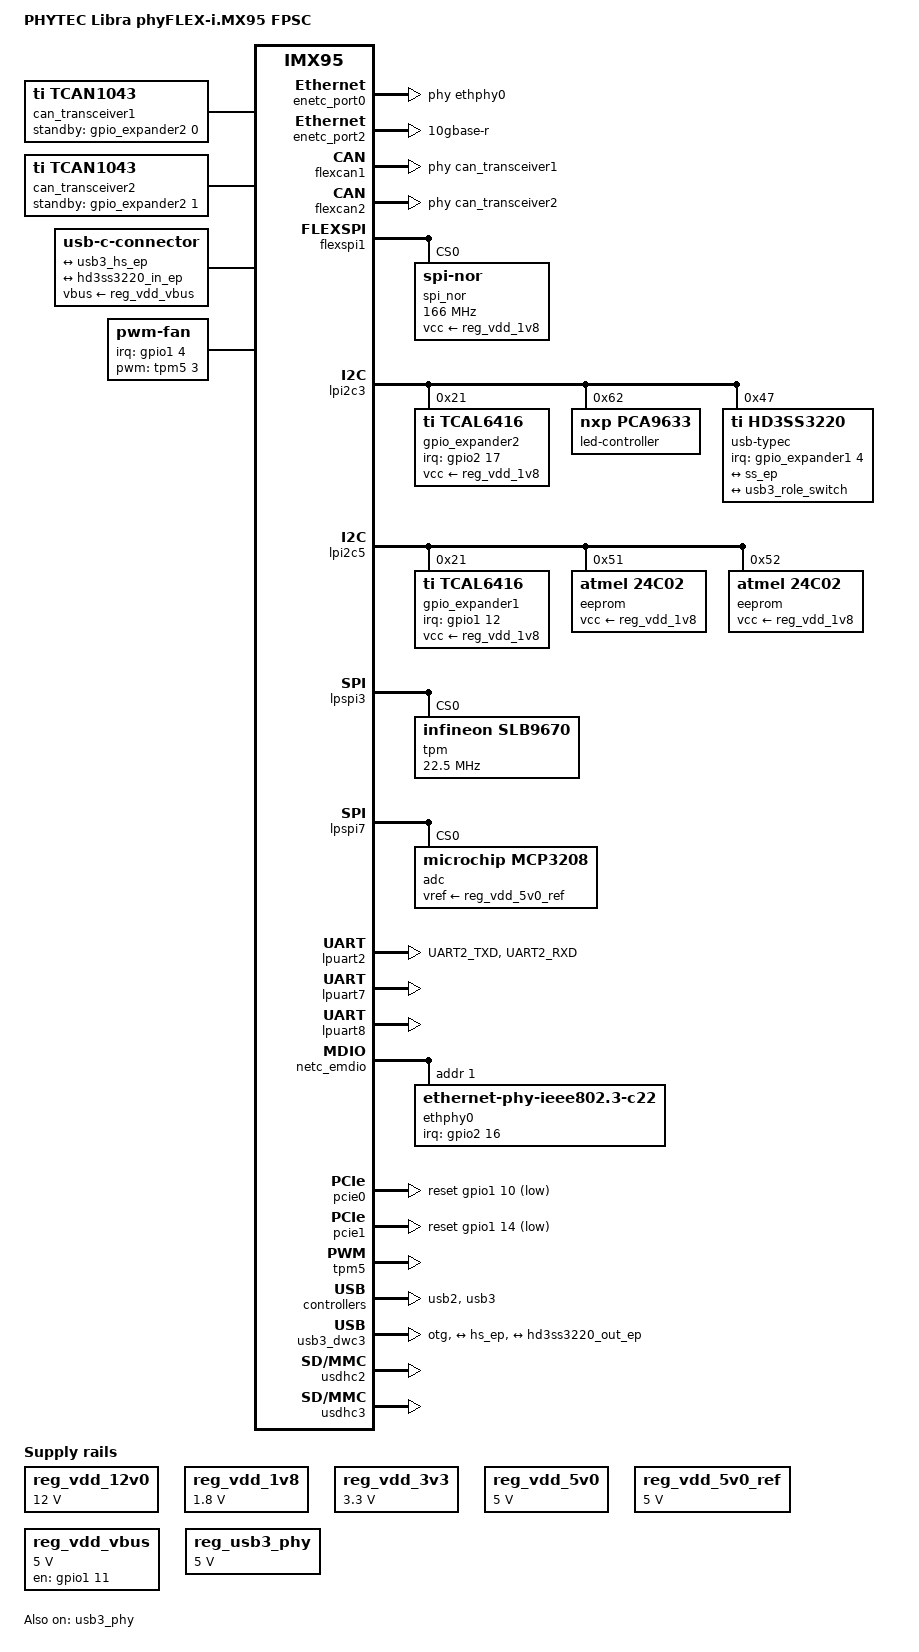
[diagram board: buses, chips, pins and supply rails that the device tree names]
// SPDX-License-Identifier: (GPL-2.0+ OR MIT)
/*
 * Copyright 2025 PHYTEC Messtechnik GmbH
 */

/dts-v1/;

#include <dt-bindings/interrupt-controller/irq.h>
#include <dt-bindings/leds/common.h>
#include <dt-bindings/pwm/pwm.h>

#include "imx95-phyflex-fpsc-g-som.dtsi"

/ {
	compatible = "phytec,imx95-phyflex-libra-rdk",
		     "phytec,imx95-phyflex-fpsc-g", "fsl,imx95";
	model = "PHYTEC Libra phyFLEX-i.MX95 FPSC";

	aliases {
		ethernet3 = &enetc_port2;
		mmc0 = &usdhc1;
		mmc1 = &usdhc2;
		mmc2 = &usdhc3;
		rtc0 = &rv3028;
		rtc1 = &scmi_bbm;
	};

	chosen {
		stdout-path = &lpuart7;
	};

	backlight: backlight {
		compatible = "pwm-backlight";
		power-supply = <&reg_vdd_12v0>;
		brightness-levels = <0 8 16 32 64 128 255>;
		default-brightness-level = <8>;
		num-interpolated-steps = <2>;
		pwms = <&tpm3 3 66667 0>;
		status = "disabled";
	};

	can_transceiver1: can-phy1 {
		compatible = "ti,tcan1043";
		#phy-cells = <0>;
		max-bitrate = <8000000>;
		standby-gpios = <&gpio_expander2 0 GPIO_ACTIVE_HIGH>;
	};

	can_transceiver2: can-phy2 {
		compatible = "ti,tcan1043";
		#phy-cells = <0>;
		max-bitrate = <8000000>;
		standby-gpios = <&gpio_expander2 1 GPIO_ACTIVE_HIGH>;
	};

	connector {
		compatible = "usb-c-connector";
		label = "USB-C";
		data-role = "dual";
		pd-disable;
		self-powered;
		vbus-supply = <&reg_vdd_vbus>;

		ports {
			#address-cells = <1>;
			#size-cells = <0>;

			port@0 {
				reg = <0>;

				hs_ep: endpoint {
					remote-endpoint = <&usb3_hs_ep>;
				};
			};
			port@1 {
				reg = <1>;

				ss_ep: endpoint {
					remote-endpoint = <&hd3ss3220_in_ep>;
				};
			};
		};
	};

	osc_mclk: oscillator-mclk {
		compatible = "fixed-clock";
		#clock-cells = <0>;
		clock-frequency = <19200000>;
		status = "disabled";
	};

	osc_mclk_gated: oscillator-mclk-gated {
		compatible = "gpio-gate-clock";
		#clock-cells = <0>;
		clocks = <&osc_mclk>;
		enable-gpios = <&gpio_expander1 8 GPIO_ACTIVE_HIGH>;
		status = "disabled";
	};

	panel_lvds1: panel-lvds0 {
		backlight = <&backlight>;
		enable-gpios = <&gpio_expander2 9 GPIO_ACTIVE_HIGH>;
		power-supply = <&reg_vdd_3v3>;
		status = "disabled";
	};

	fan: pwm-fan {
		compatible = "pwm-fan";
		interrupt-parent = <&gpio1>;
		interrupts = <4 IRQ_TYPE_EDGE_RISING>;
		#cooling-cells = <2>;
		/* startup 35%, duty cycle 30%-100%;
		 * polarity inversion does not appear to work
		 */
		cooling-levels = <255 166 96 0>;
		/* fan-supply = <&reg_vdd_5v0>;  probe fails with this set */
		pwms = <&tpm5 3 86958 0>;
		pulses-per-revolution = <2>;
	};

	reg_vdd_12v0: regulator-vdd-12v0 {
		compatible = "regulator-fixed";
		regulator-always-on;
		regulator-boot-on;
		regulator-max-microvolt = <12000000>;
		regulator-min-microvolt = <12000000>;
		regulator-name = "VDD_12V0";
	};

	reg_vdd_1v8: regulator-vdd-1v8 {
		compatible = "regulator-fixed";
		regulator-always-on;
		regulator-boot-on;
		regulator-max-microvolt = <1800000>;
		regulator-min-microvolt = <1800000>;
		regulator-name = "VDD_1V8";
	};

	reg_vdd_3v3: regulator-vdd-3v3 {
		compatible = "regulator-fixed";
		regulator-always-on;
		regulator-boot-on;
		regulator-max-microvolt = <3300000>;
		regulator-min-microvolt = <3300000>;
		regulator-name = "VDD_3V3";
	};

	reg_vdd_5v0: regulator-vdd-5v0 {
		compatible = "regulator-fixed";
		regulator-always-on;
		regulator-boot-on;
		regulator-max-microvolt = <5000000>;
		regulator-min-microvolt = <5000000>;
		regulator-name = "VDD_5V0";
	};

	reg_vdd_5v0_ref: regulator-vdd-5v0-ref {
		compatible = "regulator-fixed";
		regulator-always-on;
		regulator-boot-on;
		regulator-max-microvolt = <5000000>;
		regulator-min-microvolt = <5000000>;
		regulator-name = "VDD_5V0_REF";
	};

	reg_vdd_vbus: regulator-vdd-vbus {
		compatible = "regulator-fixed";
		enable-active-high;
		gpio = <&gpio1 11 GPIO_ACTIVE_HIGH>;
		regulator-min-microvolt = <5000000>;
		regulator-max-microvolt = <5000000>;
		regulator-name = "VDD_VBUS_C";
	};

	reg_usb3_phy: regulator-usb-vbus {
		compatible = "regulator-fixed";
		regulator-min-microvolt = <5000000>;
		regulator-max-microvolt = <5000000>;
		regulator-name = "usb3-phy-dummy";
	};

	sfp_cage: sfp {
		compatible = "sff,sfp";
		i2c-bus = <&lpi2c4>;
		los-gpios = <&gpio_expander2 14 GPIO_ACTIVE_HIGH>;
		maximum-power-milliwatt = <2500>;
		mod-def0-gpios = <&gpio_expander2 12 GPIO_ACTIVE_HIGH>;
		rate-select0-gpios = <&gpio_expander2 13 GPIO_ACTIVE_HIGH>;
		rate-select1-gpios = <&gpio_expander2 15 GPIO_ACTIVE_HIGH>;
		tx-fault-gpios = <&gpio_expander2 10 GPIO_ACTIVE_HIGH>;
		tx-disable-gpios = <&gpio_expander2 11 GPIO_ACTIVE_HIGH>;
		status = "disabled";
	};
};

&enetc_port0 {
	phy-handle = <&ethphy0>;
	status = "okay";
};

&enetc_port2 {
	max-speed = <10000>;
	phy-mode = "10gbase-r";
	sfp = <&sfp_cage>;
};

/* CAN FD */
&flexcan1 {
	phys = <&can_transceiver1>;
	status = "okay";
};

&flexcan2 {
	phys = <&can_transceiver2>;
	status = "okay";
};

/* SPI-NOR */
&flexspi1 {
	pinctrl-0 = <&pinctrl_flexspi>;
	pinctrl-names = "default";
	status = "okay";

	spi_nor: flash@0 {
		compatible = "jedec,spi-nor";
		reg = <0>;
		spi-max-frequency = <166000000>;
		spi-rx-bus-width = <4>;
		spi-tx-bus-width = <4>;
		vcc-supply = <&reg_vdd_1v8>;
	};
};

&gpio2 {
	gpio-line-names = "", "", "", "", "",
			  "", "", "", "", "",
			  "", "", "", "", "",
			  "", "RGMII2_nINT", "GPIO4", "RTC_INT", "",
			  "LVDS1_BL_EN";
};

&lpi2c3 {
	status = "okay";

	gpio_expander2: gpio@21 {
		compatible = "ti,tcal6416";
		reg = <0x21>;
		interrupt-parent = <&gpio2>;
		interrupts = <17 IRQ_TYPE_LEVEL_LOW>;
		#interrupt-cells = <2>;
		gpio-controller;
		#gpio-cells = <2>;
		gpio-line-names = "CAN1_STBY", "CAN2_STBY", "NC",
				  "KEY-E_nALERT", "KEY-M_nALERT",
				  "SDIO_nWAKE", "SDIO_nRESET", "HDMI_EN",
				  "RTC_nINT", "LVDS1_BL_EN", "SFP_TX_FAULT",
				  "SFP_TX_DISABLE", "SFP_MOD_ABS", "SFP_RS0",
				  "SFP_RX_LOSS", "SFP_RS1";
		interrupt-controller;
		vcc-supply = <&reg_vdd_1v8>;
	};

	led-controller@62 {
		compatible = "nxp,pca9633";
		reg = <0x62>;
		#address-cells = <1>;
		#size-cells = <0>;

		led@0 {
			reg = <0>;
			color = <LED_COLOR_ID_RED>;
			function = LED_FUNCTION_STATUS;
		};

		led@1 {
			reg = <1>;
			color = <LED_COLOR_ID_GREEN>;
			function = LED_FUNCTION_STATUS;
		};

		led@2 {
			reg = <2>;
			color = <LED_COLOR_ID_BLUE>;
			function = LED_FUNCTION_STATUS;
		};
	};

	usb-typec@47 {
		compatible = "ti,hd3ss3220";
		reg = <0x47>;
		interrupt-parent = <&gpio_expander1>;
		interrupts = <4 IRQ_TYPE_LEVEL_LOW>;
		ports {
			#address-cells = <1>;
			#size-cells = <0>;

			port@0 {
				reg = <0>;

				hd3ss3220_in_ep: endpoint {
					remote-endpoint = <&ss_ep>;
				};
			};

			port@1 {
				reg = <1>;

				hd3ss3220_out_ep: endpoint {
					remote-endpoint = <&usb3_role_switch>;
				};
			};
		};
	};
};

&lpi2c5 {
	status = "okay";

	gpio_expander1: gpio@21 {
		compatible = "ti,tcal6416";
		reg = <0x21>;
		interrupt-controller;
		interrupt-parent = <&gpio1>;
		interrupts = <12 IRQ_TYPE_LEVEL_LOW>;
		#interrupt-cells = <2>;
		#gpio-cells = <2>;
		gpio-controller;
		gpio-line-names = "VCONN_nFAULT", "CSI1_CTRL1", "CSI1_CTRL3",
				  "CSI1_CTRL4", "USB-C_nINT/AUDIO_AC",
				  "CSI2_CTRL1", "CSI2_CTRL3", "CSI2_CTRL4",
				  "CLK_EN_AV", "W_nDISABLE1", "W_nDISABLE2",
				  "PCIE1_nWAKE", "PCIE2_nWAKE", "UART1_nWAKE",
				  "UART1_BT_RS_SEL", "UART1_RS232_485_SEL";

		vcc-supply = <&reg_vdd_1v8>;
	};

	/* Factory EEPROM */
	eeprom@51 {
		compatible = "atmel,24c02";
		reg = <0x51>;
		pagesize = <16>;
		read-only;
		vcc-supply = <&reg_vdd_1v8>;
	};

	/* User EEPROM */
	eeprom@52 {
		compatible = "atmel,24c02";
		reg = <0x52>;
		pagesize = <16>;
		vcc-supply = <&reg_vdd_1v8>;
	};
};

&lpspi3 {
	#address-cells = <1>;
	#size-cells = <0>;
	num-cs = <1>;
	assigned-clocks = <&scmi_clk IMX95_CLK_LPSPI3>;
	assigned-clock-parents = <&scmi_clk IMX95_CLK_SYSPLL1_PFD0_DIV2>;
	assigned-clock-rates = <50000000>;
	status = "okay";

	tpm: tpm@0 {
		compatible = "infineon,slb9670", "tcg,tpm_tis-spi";
		reg = <0>;
		spi-max-frequency = <22500000>;
	};
};

&lpspi7 {
	#address-cells = <1>;
	#size-cells = <0>;
	num-cs = <1>;
	status = "okay";

	adc@0 {
		compatible = "microchip,mcp3208";
		reg = <0>;
		vref-supply = <&reg_vdd_5v0_ref>;
		#io-channel-cells = <1>;
	};
};

/* Used for M33 debug */
&lpuart2 {
	pinctrl-0 = <&pinctrl_lpuart2>;
	pinctrl-names = "default";
};

/* A-55 debug UART */
&lpuart7 {
	status = "okay";
};

/* RS232/RS485/BT */
&lpuart8 {
	uart-has-rtscts;
	status = "okay";
};

&netc_emdio { /* RGMII2 */
	ethphy0: ethernet-phy@1 {
		compatible = "ethernet-phy-ieee802.3-c22";
		reg = <0x1>;
		interrupt-parent = <&gpio2>;
		interrupts = <16 IRQ_TYPE_LEVEL_LOW>;
		enet-phy-lane-no-swap;
		ti,clk-output-sel = <DP83867_CLK_O_SEL_OFF>;
		ti,fifo-depth = <DP83867_PHYCR_FIFO_DEPTH_4_B_NIB>;
		ti,output-impedance = <0x18>;
		ti,rx-internal-delay = <DP83867_RGMIIDCTL_2_00_NS>;
		ti,tx-internal-delay = <DP83867_RGMIIDCTL_2_00_NS>;
	};
};

&pcie0 {
	external-facing;
	reset-gpio = <&gpio1 10 GPIO_ACTIVE_LOW>;
	supports-clkreq;
	vpcie-supply = <&reg_vdd_3v3>;
	wake-gpios = <&gpio_expander1 11 GPIO_ACTIVE_LOW>;
	status = "okay";
};

&pcie1 {
	external-facing;
	reset-gpio = <&gpio1 14 GPIO_ACTIVE_LOW>;
	supports-clkreq;
	vpcie-supply = <&reg_vdd_3v3>;
	wake-gpios = <&gpio_expander1 12 GPIO_ACTIVE_LOW>;
	status = "okay";
};

&rv3028 {
	interrupt-parent = <&gpio_expander2>;
	interrupts = <8 IRQ_TYPE_LEVEL_LOW>;
	aux-voltage-chargeable = <1>;
	wakeup-source;
};

&scmi_iomuxc {
	pinctrl_lpuart2: lpuart2grp { /* FPSC proprietary */
		fsl,pins = <
			IMX95_PAD_UART2_TXD__AONMIX_TOP_LPUART2_TX	0x31e
			IMX95_PAD_UART2_RXD__AONMIX_TOP_LPUART2_RX	0x31e
		>;
	};
};

&thermal_zones {
	a55-thermal {
		trips {
			atrip2: trip2 {
				temperature = <55000>;
				hysteresis = <2000>;
				type = "active";
			};

			atrip3: trip3 {
				temperature = <65000>;
				hysteresis = <2000>;
				type = "active";
			};

			atrip4: trip4 {
				temperature = <75000>;
				hysteresis = <2000>;
				type = "active";
			};
		};

		cooling-maps {
			map1 {
				trip = <&atrip2>;
				cooling-device = <&fan 0 1>;
			};

			map2 {
				trip = <&atrip3>;
				cooling-device = <&fan 1 2>;
			};

			map3 {
				trip = <&atrip4>;
				cooling-device = <&fan 2 3>;
			};
		};
	};
};

&tpm5 {
	status = "okay";
};

&usb2 {
	disable-over-current;
	status = "okay";
};

&usb3 {
	status = "okay";
};

&usb3_dwc3 {
	adp-disable;
	dr_mode = "otg";
	hnp-disable;
	srp-disable;
	usb-role-switch;
	status = "okay";

	ports {
		#address-cells = <1>;
		#size-cells = <0>;

		port@0 {
			reg = <0>;
			usb3_hs_ep: endpoint {
				remote-endpoint = <&hs_ep>;
			};
		};
		port@1 {
			reg = <1>;
			usb3_role_switch: endpoint {
				remote-endpoint = <&hd3ss3220_out_ep>;
			};
		};
	};
};

&usb3_phy {
	status = "okay";
	vbus-supply = <&reg_usb3_phy>;
};

&usbphynop {
	vbus-supply = <&reg_vdd_5v0>;
};

/* uSD Card */
&usdhc2 {
	status = "okay";
};

/* SDIO used on pcie m.2 key-E */
&usdhc3 {
	status = "okay";
};
